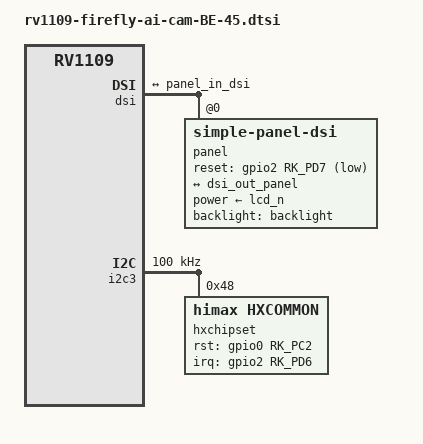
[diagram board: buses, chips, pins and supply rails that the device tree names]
// SPDX-License-Identifier: (GPL-2.0+ OR MIT)
/*
 * Copyright (c) 2020 Rockchip Electronics Co., Ltd.
 */

#include "rv1109-firefly-ai-cam.dtsi"

&gsl3680 {
	status = "disabled";
};

&dsi {

	status = "okay";
	
        panel@0 {
                compatible = "simple-panel-dsi";

                reg = <0>;
                backlight = <&backlight>;
                ///delete-property/ power-supply;
		//enable-gpios = <&gpio0 RK_PD6 GPIO_ACTIVE_HIGH>;
		power-supply = <&lcd_n>;
		reset-gpios = <&gpio2 RK_PD7 GPIO_ACTIVE_LOW>;
		
		//pinctrl-0 = <&lcd_ctl>,<&lcd_rst_ctl>;
		//pinctrl-0 = <&lcd_rst>;
                pinctrl-names = "default";

		dsi,flags = <(MIPI_DSI_MODE_VIDEO_BURST | MIPI_DSI_MODE_VIDEO |
				MIPI_DSI_MODE_LPM)>;
		dsi,format = <MIPI_DSI_FMT_RGB888>;
		bus-format = <MEDIA_BUS_FMT_RGB666_1X18>;
		dsi,lanes = <4>;

		prepare-delay-ms = <120>;
        	reset-delay-ms = <120>;
        	init-delay-ms = <120>;
        	enable-delay-ms = <120>;
        	unprepare-delay-ms = <120>;
        	disable-delay-ms = <120>;

                size,width = <120>;
                size,height = <170>;

		width-mm = <135>;
                height-mm = <216>;

                status = "okay";
		
		panel-init-sequence = [
            		//39 00 04 B9 83 10 2E
            		// 15 00 02 CF FF
            		05 78 01 11
            		05 32 01 29
            		//15 00 02 35 00
        	];

        	panel-exit-sequence = [
            		05 00 01 28
            		05 00 01 10
        	];

                display-timings {
                        native-mode = <&timing0>;
                        timing0: timing0 {
				clock-frequency = <72600000>;//<80000000>;
                		hactive = <800>;//<768>;
                		vactive = <1280>;
                		hsync-len = <14>;   //20, 50,10
                		hback-porch = <26>; //50, 56,10
                		hfront-porch = <32>;//50, 30,180
                		vsync-len = <8>;//4
                		vback-porch = <20>;//4
                		vfront-porch = <80>;//8
                		hsync-active = <0>;
                		vsync-active = <0>;
                		de-active = <0>;
                		pixelclk-active = <0>;
                        };
                };

                ports {
                        #address-cells = <1>;
                        #size-cells = <0>;

                        port@0 {
                                reg = <0>;
                                panel_in_dsi: endpoint {
                                        remote-endpoint = <&dsi_out_panel>;
                                };
                        };
                };
	};

        ports {
                #address-cells = <1>;
                #size-cells = <0>;

                port@1 {
                        reg = <1>;
                        dsi_out_panel: endpoint {
                                remote-endpoint = <&panel_in_dsi>;
                        };
                };
        };

};

&i2c3 {
     status = "okay";
     pinctrl-0 = <&i2c3m1_xfer>;
     clock-frequency = <100000>;

     i2c-scl-rising-time-ns = <7>;
     i2c-scl-falling-time-ns = <7>;

     hxchipset: hxchipset@48{ 
        status = "okay";
        compatible = "himax,hxcommon";
        reg = <0x48>;                   
	interrupt-parent = <&gpio2>;
	interrupts = <RK_PD6 IRQ_TYPE_LEVEL_LOW>;

        himax,rst-gpio =  <&gpio0 RK_PC2 GPIO_ACTIVE_HIGH>;
        himax,irq-gpio = <&gpio2 RK_PD6 IRQ_TYPE_LEVEL_LOW>;
	//pinctrl-0 = <&tp_ctl>,<&tp_irq>;
	pinctrl-0 = <&tp_ctl>;
        pinctrl-names = "default";


        himax,panel-coords = <0 800 0 1280>;      //触摸范围
        himax,display-coords = <0 800 0 1280>;    //分辨率
        report_type = <1>;
    };
};
